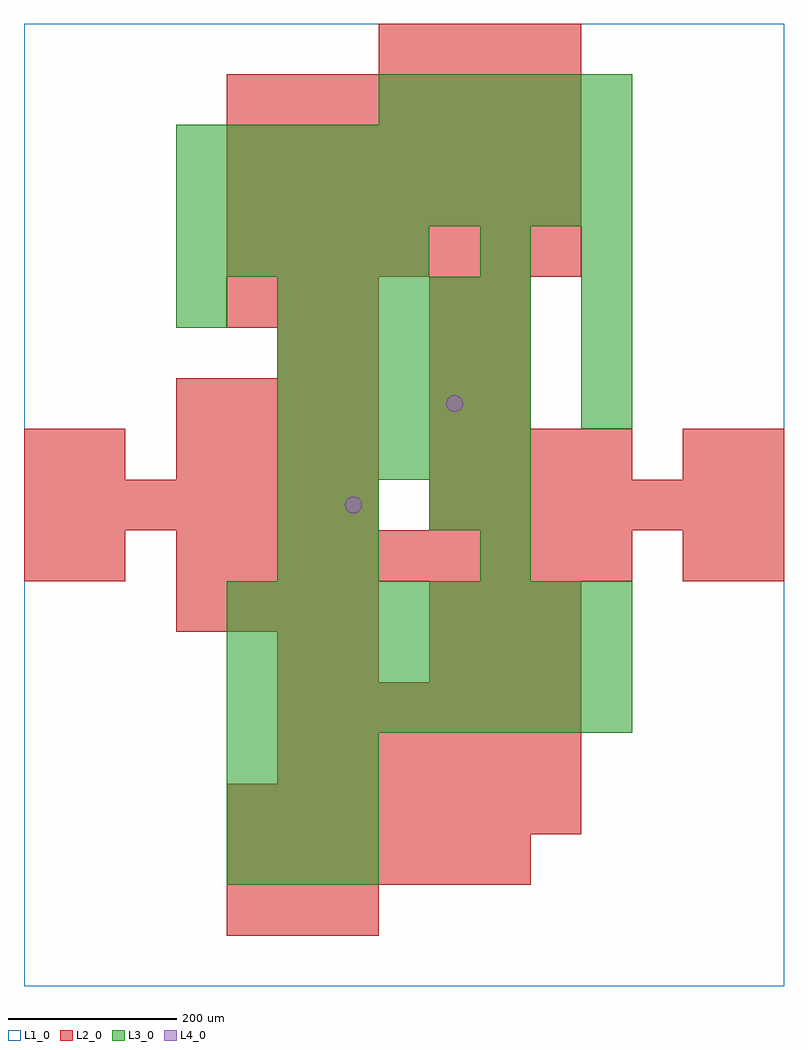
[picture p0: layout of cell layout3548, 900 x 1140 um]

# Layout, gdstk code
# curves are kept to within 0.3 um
import gdstk
lib = gdstk.Library(unit=1e-6, precision=1e-09)
def R(c, l, rs):  # rectangles x0, y0, x1, y1
    for r in rs: c.add(gdstk.rectangle(r[:2], r[2:], *l))
def A(c, l, x, y, w, h, nx, ny, dx, dy):  # array of equal rectangles
    R(c, l, [(x+i*dx, y+j*dy, x+i*dx+w, y+j*dy+h) for i in range(nx) for j in range(ny)])
def P(c, l, *ps):  # polygons
    for p in ps: c.add(gdstk.Polygon(p, *l))
L1_0 = (1, 0)
L2_0 = (2, 0)
L3_0 = (3, 0)
L4_0 = (4, 0)

layout3548 = lib.new_cell('layout3548')
R(layout3548, L1_0, [(0,0,900,1140)])
A(layout3548, L2_0, 240, 60, 60, 60, 3, 2, 60, 720)
A(layout3548, L2_0, 240, 120, 60, 60, 6, 1, 60, 0)
A(layout3548, L2_0, 240, 180, 60, 60, 7, 2, 60, 660)
A(layout3548, L2_0, 300, 240, 60, 60, 6, 2, 60, 60)
A(layout3548, L2_0, 480, 360, 60, 60, 3, 2, 60, 60)
A(layout3548, L2_0, 180, 420, 60, 60, 4, 2, 60, 180)
A(layout3548, L2_0, 180, 480, 60, 60, 9, 1, 60, 0)
A(layout3548, L2_0, 0, 540, 60, 60, 7, 1, 60, 0)
A(layout3548, L2_0, 480, 540, 60, 60, 7, 1, 60, 0)
A(layout3548, L2_0, 480, 600, 60, 60, 4, 1, 60, 0)
A(layout3548, L2_0, 180, 660, 60, 60, 4, 1, 60, 0)
A(layout3548, L2_0, 480, 660, 60, 60, 1, 3, 0, 60)
A(layout3548, L2_0, 540, 660, 60, 60, 1, 3, 0, 60)
A(layout3548, L2_0, 240, 900, 60, 60, 7, 3, 60, 60)
A(layout3548, L2_0, 420, 1080, 60, 60, 4, 1, 60, 0)
R(layout3548, L2_0, [(300,360,360,420), (360,360,420,420), (0,480,60,540), (60,480,120,540), (780,480,840,540), (840,480,900,540), (0,600,60,660), (60,600,120,660), (780,600,840,660), (840,600,900,660), (300,720,360,780), (360,720,420,780)])
A(layout3548, L3_0, 240, 120, 60, 60, 3, 3, 60, 60)
A(layout3548, L3_0, 240, 300, 60, 60, 8, 3, 60, 60)
A(layout3548, L3_0, 300, 600, 60, 60, 5, 4, 60, 60)
A(layout3548, L3_0, 660, 660, 60, 60, 1, 4, 0, 60)
A(layout3548, L3_0, 180, 840, 60, 60, 5, 1, 60, 0)
A(layout3548, L3_0, 180, 900, 60, 60, 9, 2, 60, 60)
A(layout3548, L3_0, 420, 1020, 60, 60, 5, 1, 60, 0)
R(layout3548, L3_0, [(300,480,360,540), (360,480,420,540), (540,480,600,540), (300,540,360,600), (360,540,420,600), (480,540,540,600), (540,540,600,600), (180,780,240,840), (540,840,600,900)])
P(layout3548, L4_0, [(400,570),(399.239,573.827),(397.071,577.071),(393.827,579.239),(390,580),(386.173,579.239),(382.929,577.071),(380.761,573.827),(380,570),(380.761,566.173),(382.929,562.929),(386.173,560.761),(390,560),(393.827,560.761),(397.071,562.929),(399.239,566.173)],
  [(520,690),(519.239,693.827),(517.071,697.071),(513.827,699.239),(510,700),(506.173,699.239),(502.929,697.071),(500.761,693.827),(500,690),(500.761,686.173),(502.929,682.929),(506.173,680.761),(510,680),(513.827,680.761),(517.071,682.929),(519.239,686.173)])

lib.write_gds('layout3548.gds')
